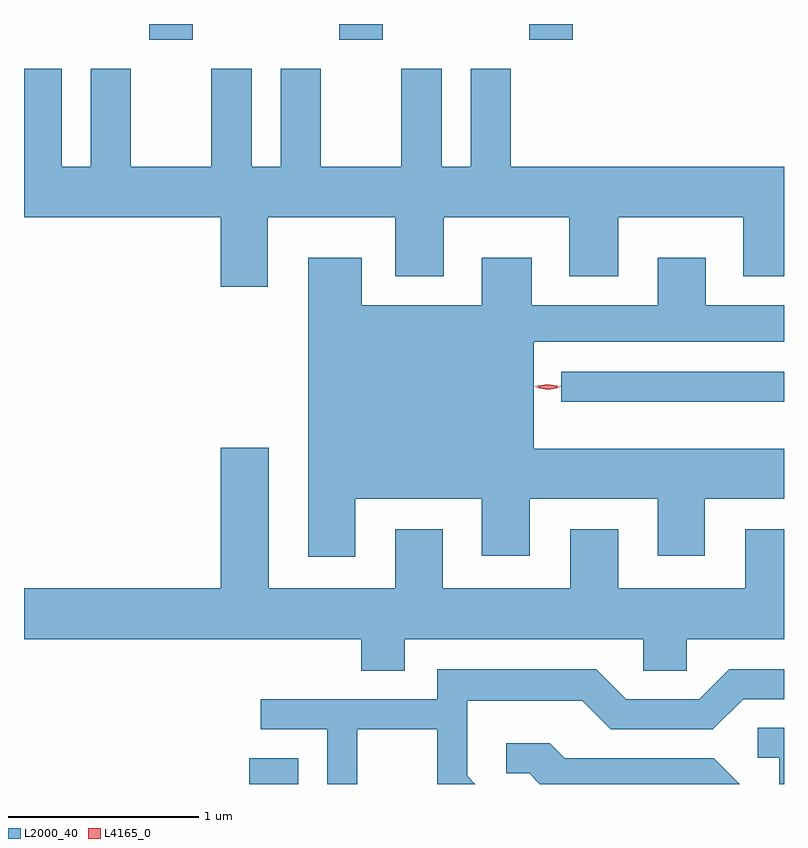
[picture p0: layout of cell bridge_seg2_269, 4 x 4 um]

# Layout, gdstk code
import gdstk
lib = gdstk.Library(unit=1e-6, precision=1e-09)
def R(c, l, rs):  # rectangles x0, y0, x1, y1
    for r in rs: c.add(gdstk.rectangle(r[:2], r[2:], *l))
def A(c, l, x, y, w, h, nx, ny, dx, dy):  # array of equal rectangles
    R(c, l, [(x+i*dx, y+j*dy, x+i*dx+w, y+j*dy+h) for i in range(nx) for j in range(ny)])
def P(c, l, *ps):  # polygons
    for p in ps: c.add(gdstk.Polygon(p, *l))
L2000_40 = (2000, 40)
L4165_0 = (4165, 0)

bridge_seg2_269 = lib.new_cell('bridge_seg2_269')
A(bridge_seg2_269, L2000_40, 618.026, 1055.911, 0.228, 0.083, 3, 1, 1, 0)
R(bridge_seg2_269, L2000_40, [(618.551,1051.994,618.809,1052.129), (620.193,1054.006,621.366,1054.164)])
P(bridge_seg2_269, L2000_40, [(618.649,1054.976),(619.321,1054.976),(619.321,1054.666),(619.574,1054.666),(619.574,1054.976),(620.236,1054.976),(620.236,1054.666),(620.494,1054.666),(620.494,1054.976),(621.151,1054.976),(621.151,1054.666),(621.366,1054.666),(621.366,1055.244),(619.929,1055.244),(619.929,1055.759),(619.716,1055.759),(619.716,1055.244),(619.564,1055.244),(619.564,1055.759),(619.351,1055.759),(619.351,1055.244),(618.929,1055.244),(618.929,1055.759),(618.716,1055.759),(618.716,1055.244),(618.564,1055.244),(618.564,1055.759),(618.351,1055.759),(618.351,1055.244),(617.929,1055.244),(617.929,1055.759),(617.716,1055.759),(617.716,1055.244),(617.564,1055.244),(617.564,1055.759),(617.366,1055.759),(617.366,1054.976),(618.401,1054.976),(618.401,1054.611),(618.649,1054.611)],
  [(619.109,1053.496),(619.776,1053.496),(619.776,1053.196),(620.029,1053.196),(620.029,1053.496),(620.701,1053.496),(620.701,1053.196),(620.949,1053.196),(620.949,1053.496),(621.366,1053.496),(621.366,1053.759),(620.049,1053.759),(620.049,1054.321),(621.366,1054.321),(621.366,1054.514),(620.954,1054.514),(620.954,1054.764),(620.701,1054.764),(620.701,1054.514),(620.039,1054.514),(620.039,1054.764),(619.776,1054.764),(619.776,1054.514),(619.144,1054.514),(619.144,1054.764),(618.861,1054.764),(618.861,1053.191),(619.109,1053.191)],
  [(618.654,1053.764),(618.401,1053.764),(618.401,1053.024),(617.366,1053.024),(617.366,1052.756),(619.141,1052.756),(619.141,1052.591),(619.369,1052.591),(619.369,1052.756),(620.626,1052.756),(620.626,1052.591),(620.854,1052.591),(620.854,1052.756),(621.366,1052.756),(621.366,1053.334),(621.161,1053.334),(621.161,1053.024),(620.494,1053.024),(620.494,1053.334),(620.241,1053.334),(620.241,1053.024),(619.569,1053.024),(619.569,1053.334),(619.321,1053.334),(619.321,1053.024),(618.654,1053.024)],
  [(619.119,1052.281),(619.541,1052.281),(619.541,1051.994),(619.742,1051.994),(619.699,1052.037),(619.699,1052.431),(620.304,1052.431),(620.454,1052.281),(620.992,1052.281),(621.152,1052.441),(621.366,1052.441),(621.366,1052.599),(621.079,1052.599),(620.919,1052.439),(620.537,1052.439),(620.377,1052.599),(619.541,1052.599),(619.541,1052.439),(618.613,1052.439),(618.613,1052.281),(618.961,1052.281),(618.961,1051.994),(619.119,1051.994)],
  [(621.366,1052.289),(621.228,1052.289),(621.228,1052.131),(621.341,1052.131),(621.341,1051.994),(621.366,1051.994)],
  [(620.997,1052.129),(620.212,1052.129),(620.132,1052.209),(619.903,1052.209),(619.903,1052.051),(620.024,1052.051),(620.081,1051.994),(621.132,1051.994)])
P(bridge_seg2_269, L4165_0, [(620.121,1054.078),(620.053,1054.087),(620.052,1054.088),(620.053,1054.088),(620.121,1054.097),(620.19,1054.088),(620.19,1054.087),(620.19,1054.087)],
  [(620.125,1054.07),(620.063,1054.079),(620.062,1054.08),(620.063,1054.08),(620.125,1054.09),(620.186,1054.08),(620.187,1054.08),(620.186,1054.079)])

lib.write_gds('bridge_seg2_269.gds')
